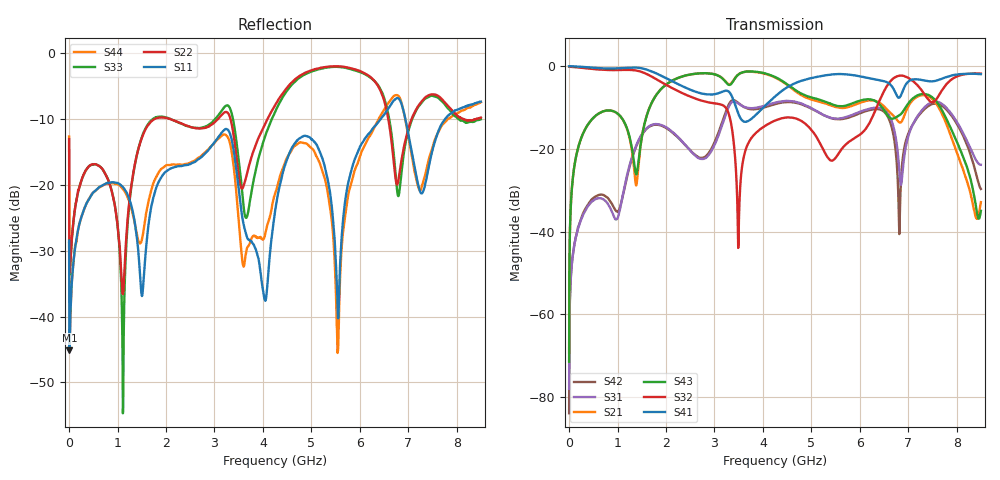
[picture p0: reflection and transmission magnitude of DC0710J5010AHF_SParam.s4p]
!Port 1 = Pin 1 = Direct Port
!Port 2 = Pin 2 = Isolated Port
!Port 3 = Pin 5 = Coupled Port
!Port 4 = Pin 6 = Input Port
# MHZ S DB R 50
!Freq  S11  S11  S12  S12  S13  S13  S14  S14  S21  S21  S22  S22  S23  S23  S24  S24  S31  S31  S32  S32  S33  S33  S34  S34  S41  S41  S42  S42  S43  S43  S44  S44
!MHz  [dB]  [deg]  [dB]  [deg]  [dB]  [deg]  [dB]  [deg]  [dB]  [deg]  [dB]  [deg]  [dB]  [deg]  [dB]  [deg]  [dB]  [deg]  [dB]  [deg]  [dB]  [deg]  [dB]  [deg]  [dB]  [deg]  [dB]  [deg]  [dB]  [deg]  [dB]  [deg]
!Freq  magS11  angS11  magS12  angS12  magS13  angS13  magS14  angS14
!  magS21  angS21  magS22  angS22  magS23  angS23  magS24  angS24
!  magS31  angS31  magS32  angS32  magS33  angS33  magS34  angS34
!  magS41  angS41  magS42  angS42  magS43  angS43  magS44  angS44
!Freq  dBS11  angS11  dBS12  angS12  dBS13  angS13  dBS14  angS14
!  dBS21  angS21  dBS22  angS22  dBS23  angS23  dBS24  angS24
!  dBS31  angS31  dBS32  angS32  dBS33  angS33  dBS34  angS34
!  dBS41  angS41  dBS42  angS42  dBS43  angS43  dBS44  angS44
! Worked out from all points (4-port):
!   1601 points, 300 kHz to 8.5 GHz, reference 50 ohm
!   strongest paths, dB at 300 kHz, 2.125 GHz, 4.25 GHz, 6.375 GHz, 8.5 GHz:
!     S41: -0.1, -3.6, -7.4, -3.3, -2.0
!     S32: -0.2, -5.3, -13.2, -9.2, -1.8
!     S43: -71.4, -3.5, -2.6, -8.9, -35.0
!     S21: -69.2, -3.5, -2.8, -8.6, -32.9
!     S31: -78.0, -15.8, -8.8, -10.1, -23.8
!     S42: -83.9, -16.0, -9.2, -10.4, -29.7
!   lowest |S11| = -45.1 dB at 5.612 MHz (marker M1), VSWR 1.01, Z = 50.4 + j0.344 ohm
!   |S11| at or under -10 dB: start of sweep to 6.436 GHz; 6.941 GHz to 7.765 GHz (824.4 MHz wide, 11.2 % of centre)
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0.3  -28.48 -101.3  -70.81 89.7  -88.18 -143.0  -0.06 -0.9
     -69.19 100.7  -13.06 -85.4  -0.15 -0.7  -77.86 -43.6
     -77.99 -90.7  -0.15 -1.5  -28.76 -80.5  -71.80 87.0
     -0.05 -0.6  -83.88 -64.9  -71.40 105.9  -12.68 -87.0
5.6123  -45.13 38.1  -49.12 84.3  -63.56 -118.7  -0.03 -0.4
        -49.05 84.7  -32.96 19.7  -0.16 -0.7  -63.35 -118.2
        -63.35 -116.5  -0.17 -0.9  -33.67 13.9  -49.06 84.1
        -0.02 -0.3  -63.68 -119.8  -49.04 84.4  -40.84 50.9
350.9126  -22.97 57.4  -14.84 59.6  -34.42 176.0  -0.27 -17.0
          -14.85 59.6  -17.75 29.9  -0.54 -42.2  -34.24 174.6
          -34.52 175.4  -0.54 -42.2  -17.75 30.6  -14.85 59.8
          -0.27 -17.0  -34.18 173.9  -14.84 59.8  -22.97 56.7
1317.754  -24.18 7.6  -22.25 -7.0  -21.29 159.9  -0.35 -62.2
          -22.26 -7.2  -18.51 100.2  -0.97 -175.2  -21.56 152.2
          -21.29 159.8  -0.97 -175.2  -18.67 93.2  -21.41 -0.5
          -0.35 -62.2  -21.57 152.2  -21.41 -0.4  -24.57 27.1
2497.087  -16.87 -17.4  -2.05 30.6  -20.15 -37.5  -5.67 -124.4
          -2.06 30.6  -11.22 -92.4  -7.35 9.1  -20.40 -42.7
          -20.37 -37.5  -7.36 9.2  -11.22 -90.2  -2.04 29.7
          -5.69 -124.4  -20.29 -42.8  -2.04 29.7  -16.66 -20.7
5546.354  -39.35 -29.2  -9.98 -44.6  -12.66 -162.4  -1.94 121.5
          -10.00 -44.5  -2.04 -154.1  -21.37 142.2  -12.91 -164.3
          -12.69 -162.4  -21.42 142.3  -2.12 -151.5  -9.65 -45.7
          -1.93 121.5  -12.84 -164.2  -9.65 -45.8  -45.28 152.0
8500  -7.40 -89.2  -32.71 27.7  -23.85 10.6  -1.95 0.8
      -32.86 27.2  -9.81 -57.1  -1.82 36.2  -29.64 1.4
      -23.85 10.4  -1.81 36.3  -10.05 -61.8  -34.81 6.5
      -1.96 0.9  -29.68 1.5  -34.97 5.3  -7.49 -98.0
